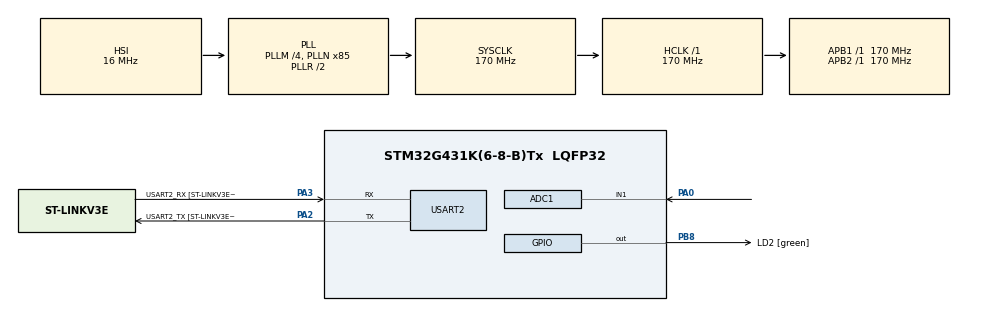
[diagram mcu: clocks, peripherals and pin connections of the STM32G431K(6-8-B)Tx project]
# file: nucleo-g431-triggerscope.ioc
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ADC1.Channel-0\#ChannelRegularConversion=ADC_CHANNEL_1
ADC1.ContinuousConvMode=ENABLE
ADC1.DMAContinuousRequests=ENABLE
ADC1.GainCompensation=0
ADC1.NbrOfConversionFlag=1
ADC1.OffsetNumber-0\#ChannelRegularConversion=ADC_OFFSET_NONE
ADC1.Overrun=ADC_OVR_DATA_OVERWRITTEN
ADC1.Rank-0\#ChannelRegularConversion=1
ADC1.SamplingTime-0\#ChannelRegularConversion=ADC_SAMPLETIME_2CYCLES_5
ADC1.master=1
Dma.ADC1.0.Direction=DMA_PERIPH_TO_MEMORY
Dma.ADC1.0.EventEnable=DISABLE
Dma.ADC1.0.Instance=DMA1_Channel1
Dma.ADC1.0.MemDataAlignment=DMA_MDATAALIGN_HALFWORD
Dma.ADC1.0.MemInc=DMA_MINC_ENABLE
Dma.ADC1.0.Mode=DMA_CIRCULAR
Dma.ADC1.0.PeriphDataAlignment=DMA_PDATAALIGN_HALFWORD
Dma.ADC1.0.PeriphInc=DMA_PINC_DISABLE
Dma.ADC1.0.Polarity=HAL_DMAMUX_REQ_GEN_RISING
Dma.ADC1.0.Priority=DMA_PRIORITY_VERY_HIGH
Dma.ADC1.0.RequestNumber=1
Dma.ADC1.0.SignalID=NONE
Dma.ADC1.0.SyncEnable=DISABLE
Dma.ADC1.0.SyncPolarity=HAL_DMAMUX_SYNC_NO_EVENT
Dma.ADC1.0.SyncRequestNumber=1
Dma.ADC1.0.SyncSignalID=NONE
Dma.Request0=ADC1
Dma.Request1=USART2_TX
Dma.USART2_TX.1.Direction=DMA_MEMORY_TO_PERIPH
Dma.USART2_TX.1.EventEnable=DISABLE
Dma.USART2_TX.1.Instance=DMA2_Channel1
Dma.USART2_TX.1.MemDataAlignment=DMA_MDATAALIGN_BYTE
Dma.USART2_TX.1.MemInc=DMA_MINC_ENABLE
Dma.USART2_TX.1.Mode=DMA_NORMAL
Dma.USART2_TX.1.PeriphDataAlignment=DMA_PDATAALIGN_BYTE
Dma.USART2_TX.1.PeriphInc=DMA_PINC_DISABLE
Dma.USART2_TX.1.Polarity=HAL_DMAMUX_REQ_GEN_RISING
Dma.USART2_TX.1.Priority=DMA_PRIORITY_HIGH
Dma.USART2_TX.1.RequestNumber=1
Dma.USART2_TX.1.SignalID=NONE
Dma.USART2_TX.1.SyncEnable=DISABLE
Dma.USART2_TX.1.SyncPolarity=HAL_DMAMUX_SYNC_NO_EVENT
Dma.USART2_TX.1.SyncRequestNumber=1
Dma.USART2_TX.1.SyncSignalID=NONE
Mcu.Family=STM32G4
Mcu.Name=STM32G431K(6-8-B)Tx
Mcu.Package=LQFP32
NVIC.DMA1_Channel1_IRQn=true\:0\:0\:false\:false\:true\:false\:true
NVIC.DMA2_Channel1_IRQn=true\:0\:0\:false\:false\:true\:false\:true
NVIC.PriorityGroup=NVIC_PRIORITYGROUP_4
NVIC.USART2_IRQn=true\:0\:0\:false\:false\:true\:true\:true
PA0.Mode=IN1-Single-Ended
PA0.Signal=ADC1_IN1
PA13.GPIO_Label=T_SWDIO
PA13.Mode=Serial_Wire
PA13.Signal=SYS_JTMS-SWDIO
PA14.GPIO_Label=T_SWCLK
PA14.Mode=Serial_Wire
PA14.Signal=SYS_JTCK-SWCLK
PA2.GPIO_Label=USART2_TX [ST-LINKV3E_VCP_RX]
PA2.Mode=Asynchronous
PA2.Signal=USART2_TX
PA3.GPIO_Label=USART2_RX [ST-LINKV3E_VCP_TX]
PA3.Mode=Asynchronous
PA3.Signal=USART2_RX
PB3.GPIO_Label=T_SWO
PB3.Signal=SYS_JTDO-SWO
PB8-BOOT0.GPIO_Label=LD2 [green]
PB8-BOOT0.Signal=GPIO_Output
ProjectManager.HeapSize=0x200
ProjectManager.StackSize=0x400
ProjectManager.TargetToolchain=STM32CubeIDE
RCC.ADC12Freq_Value=170000000
RCC.AHBFreq_Value=170000000
RCC.APB1Freq_Value=170000000
RCC.APB1TimFreq_Value=170000000
RCC.APB2Freq_Value=170000000
RCC.APB2TimFreq_Value=170000000
RCC.CortexFreq_Value=170000000
RCC.EXTERNAL_CLOCK_VALUE=12288000
RCC.HCLKFreq_Value=170000000
RCC.HSE_VALUE=8000000
RCC.HSI48_VALUE=48000000
RCC.HSI_VALUE=16000000
RCC.LSE_VALUE=32768
RCC.PLLM=RCC_PLLM_DIV4
RCC.PLLN=85
RCC.SYSCLKFreq_VALUE=170000000
RCC.SYSCLKSource=RCC_SYSCLKSOURCE_PLLCLK
RCC.USBFreq_Value=170000000
RCC.VCOOutputFreq_Value=340000000
USART2.FIFOMode=FIFOMODE_ENABLE
USART2.VirtualMode-Asynchronous=VM_ASYNC
USART2.WordLength=WORDLENGTH_8B
VP_CRC_VS_CRC.Mode=CRC_Activate
VP_RTC_VS_RTC_Activate.Mode=RTC_Enabled
VP_RTC_VS_RTC_Calendar.Mode=RTC_Calendar
VP_SYS_VS_DBSignals.Mode=DisableDeadBatterySignals
board=NUCLEO-G431KB

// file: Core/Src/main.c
/* USER CODE BEGIN Header */
/**
 ******************************************************************************
 * @file           : main.c
 * @brief          : Main program body
 ******************************************************************************
 * @attention
 *
 * <h2><center>&copy; Copyright (c) 2020 STMicroelectronics.
 * All rights reserved.</center></h2>
 *
 * This software component is licensed by ST under BSD 3-Clause license,
 * the "License"; You may not use this file except in compliance with the
 * License. You may obtain a copy of the License at:
 *                        opensource.org/licenses/BSD-3-Clause
 *
 ******************************************************************************
 */
/* USER CODE END Header */
#include "main.h"

/* USER CODE BEGIN Includes */
#include <stdio.h>
#include <string.h>
#include "base64.h"
/* USER CODE END Includes */

/* USER CODE BEGIN PD */
#define ADC_BUF_LEN 2000 // used to be 2064, no obvious difference w/ 5000... Needs to be even for below variable,
#define ADC_BUF_HLEN 100 // ADC_BUF_LEN/2
#define FIFO_WFLEN 750 //For some reason this stops working between 700 and 800 with python readout, no compile errors at any value <=1000
#define FIFO_NUMWF 2 // used to be 8...
#define WF_PRE_SAMPLES 50
/* USER CODE END PD */

ADC_HandleTypeDef hadc1;
DMA_HandleTypeDef hdma_adc1;

CRC_HandleTypeDef hcrc;

RTC_HandleTypeDef hrtc;

UART_HandleTypeDef huart2;
DMA_HandleTypeDef hdma_usart2_tx;

/* USER CODE BEGIN PV */
RTC_TimeTypeDef sTime;
RTC_DateTypeDef sDate;

uint16_t adc_buf[ADC_BUF_LEN];
uint16_t fifo[FIFO_NUMWF][FIFO_WFLEN];
uint16_t trig_threshold = 100;
/* Holds 1 if FIFO holds data */
uint8_t fifo_status;
/* the register where the threshold was meet, so need to be able to hold a value
 * up to ADC_BUF_LEN it is -1 if there is no active trigger*/
int16_t active_trigger = -1;
char tx_dma_buffer[4000]; // for the UART2 TX buffer

char datetime_str[25];
// DEBUG CRAP
uint16_t tmp_a, tmp_b, tmp_c, tmp_d;
uint16_t wf_type;
/* USER CODE END PV */

void SystemClock_Config(void);
static void MX_GPIO_Init(void);
static void MX_DMA_Init(void);
static void MX_USART2_UART_Init(void);
static void MX_ADC1_Init(void);
static void MX_CRC_Init(void);
static void MX_RTC_Init(void);

int main(void)
{

  /* MCU Configuration--------------------------------------------------------*/

  /* Reset of all peripherals, Initializes the Flash interface and the Systick. */
  HAL_Init();

  /* Configure the system clock */
  SystemClock_Config();

  /* Initialize all configured peripherals */
  MX_GPIO_Init();
  MX_DMA_Init();
  MX_USART2_UART_Init();
  MX_ADC1_Init();
  MX_CRC_Init();
  MX_RTC_Init();
  /* USER CODE BEGIN 2 */
	HAL_ADC_Start_DMA(&hadc1, (uint32_t*)adc_buf, ADC_BUF_LEN);
  /* USER CODE END 2 */

  /* Infinite loop */
  /* USER CODE BEGIN WHILE */
	while (1)
	{
		if (fifo_status != 0x00){
			/* IF there is a waveform in the FIFO, then get the time from the RTC and then transmit the TX buffer */
			HAL_RTC_GetTime(&hrtc, &sTime, RTC_FORMAT_BIN);
			HAL_RTC_GetDate(&hrtc, &sDate, RTC_FORMAT_BIN);
			int fsec = (999 - sTime.SubSeconds*1000 / sTime.SecondFraction);
			if (fsec < 0){ fsec=0;}
			else if (fsec > 999){fsec=0;}
			sprintf(datetime_str, "%02d%02d%02d_%02d:%02d:%02d.%03d\r\n", sDate.Year, sDate.Month, sDate.Date, sTime.Hours, sTime.Minutes, sTime.Seconds, fsec);
			//HAL_UART_Transmit(&huart2, datetime_str, strlen((char*)datetime_str), 100);
			fill_tx_buffer();
			int txret = transmit_buffer_DMA();
			fifo_status=0;
		}
		/*
		strcpy((char*)datetime_str, "Hello\r\n");
		HAL_UART_Transmit(&huart2, datetime_str, strlen((char*)datetime_str), 100);
		HAL_Delay(1000);
		 */
    /* USER CODE END WHILE */

	}
}

void SystemClock_Config(void)
{
  RCC_OscInitTypeDef RCC_OscInitStruct = {0};
  RCC_ClkInitTypeDef RCC_ClkInitStruct = {0};
  RCC_PeriphCLKInitTypeDef PeriphClkInit = {0};

  /** Configure the main internal regulator output voltage
  */
  HAL_PWREx_ControlVoltageScaling(PWR_REGULATOR_VOLTAGE_SCALE1_BOOST);
  /** Initializes the RCC Oscillators according to the specified parameters
  * in the RCC_OscInitTypeDef structure.
  */
  RCC_OscInitStruct.OscillatorType = RCC_OSCILLATORTYPE_HSI|RCC_OSCILLATORTYPE_LSI;
  RCC_OscInitStruct.HSIState = RCC_HSI_ON;
  RCC_OscInitStruct.HSICalibrationValue = RCC_HSICALIBRATION_DEFAULT;
  RCC_OscInitStruct.LSIState = RCC_LSI_ON;
  RCC_OscInitStruct.PLL.PLLState = RCC_PLL_ON;
  RCC_OscInitStruct.PLL.PLLSource = RCC_PLLSOURCE_HSI;
  RCC_OscInitStruct.PLL.PLLM = RCC_PLLM_DIV4;
  RCC_OscInitStruct.PLL.PLLN = 85;
  RCC_OscInitStruct.PLL.PLLP = RCC_PLLP_DIV2;
  RCC_OscInitStruct.PLL.PLLQ = RCC_PLLQ_DIV2;
  RCC_OscInitStruct.PLL.PLLR = RCC_PLLR_DIV2;
  if (HAL_RCC_OscConfig(&RCC_OscInitStruct) != HAL_OK)
  {
    Error_Handler();
  }
  /** Initializes the CPU, AHB and APB buses clocks
  */
  RCC_ClkInitStruct.ClockType = RCC_CLOCKTYPE_HCLK|RCC_CLOCKTYPE_SYSCLK
                              |RCC_CLOCKTYPE_PCLK1|RCC_CLOCKTYPE_PCLK2;
  RCC_ClkInitStruct.SYSCLKSource = RCC_SYSCLKSOURCE_PLLCLK;
  RCC_ClkInitStruct.AHBCLKDivider = RCC_SYSCLK_DIV1;
  RCC_ClkInitStruct.APB1CLKDivider = RCC_HCLK_DIV1;
  RCC_ClkInitStruct.APB2CLKDivider = RCC_HCLK_DIV1;

  if (HAL_RCC_ClockConfig(&RCC_ClkInitStruct, FLASH_LATENCY_4) != HAL_OK)
  {
    Error_Handler();
  }
  /** Initializes the peripherals clocks
  */
  PeriphClkInit.PeriphClockSelection = RCC_PERIPHCLK_RTC|RCC_PERIPHCLK_USART2
                              |RCC_PERIPHCLK_ADC12;
  PeriphClkInit.Usart2ClockSelection = RCC_USART2CLKSOURCE_PCLK1;
  PeriphClkInit.Adc12ClockSelection = RCC_ADC12CLKSOURCE_SYSCLK;
  PeriphClkInit.RTCClockSelection = RCC_RTCCLKSOURCE_LSI;

  if (HAL_RCCEx_PeriphCLKConfig(&PeriphClkInit) != HAL_OK)
  {
    Error_Handler();
  }
}

static void MX_ADC1_Init(void)
{

  ADC_MultiModeTypeDef multimode = {0};
  ADC_ChannelConfTypeDef sConfig = {0};

  /** Common config
  */
  hadc1.Instance = ADC1;
  hadc1.Init.ClockPrescaler = ADC_CLOCK_SYNC_PCLK_DIV4;
  hadc1.Init.Resolution = ADC_RESOLUTION_12B;
  hadc1.Init.DataAlign = ADC_DATAALIGN_RIGHT;
  hadc1.Init.GainCompensation = 0;
  hadc1.Init.ScanConvMode = ADC_SCAN_DISABLE;
  hadc1.Init.EOCSelection = ADC_EOC_SINGLE_CONV;
  hadc1.Init.LowPowerAutoWait = DISABLE;
  hadc1.Init.ContinuousConvMode = ENABLE;
  hadc1.Init.NbrOfConversion = 1;
  hadc1.Init.DiscontinuousConvMode = DISABLE;
  hadc1.Init.ExternalTrigConv = ADC_SOFTWARE_START;
  hadc1.Init.ExternalTrigConvEdge = ADC_EXTERNALTRIGCONVEDGE_NONE;
  hadc1.Init.DMAContinuousRequests = ENABLE;
  hadc1.Init.Overrun = ADC_OVR_DATA_OVERWRITTEN;
  hadc1.Init.OversamplingMode = DISABLE;
  if (HAL_ADC_Init(&hadc1) != HAL_OK)
  {
    Error_Handler();
  }
  /** Configure the ADC multi-mode
  */
  multimode.Mode = ADC_MODE_INDEPENDENT;
  if (HAL_ADCEx_MultiModeConfigChannel(&hadc1, &multimode) != HAL_OK)
  {
    Error_Handler();
  }
  /** Configure Regular Channel
  */
  sConfig.Channel = ADC_CHANNEL_1;
  sConfig.Rank = ADC_REGULAR_RANK_1;
  sConfig.SamplingTime = ADC_SAMPLETIME_2CYCLES_5;
  sConfig.SingleDiff = ADC_SINGLE_ENDED;
  sConfig.OffsetNumber = ADC_OFFSET_NONE;
  sConfig.Offset = 0;
  if (HAL_ADC_ConfigChannel(&hadc1, &sConfig) != HAL_OK)
  {
    Error_Handler();
  }

}

static void MX_CRC_Init(void)
{

  hcrc.Instance = CRC;
  hcrc.Init.DefaultPolynomialUse = DEFAULT_POLYNOMIAL_ENABLE;
  hcrc.Init.DefaultInitValueUse = DEFAULT_INIT_VALUE_ENABLE;
  hcrc.Init.InputDataInversionMode = CRC_INPUTDATA_INVERSION_NONE;
  hcrc.Init.OutputDataInversionMode = CRC_OUTPUTDATA_INVERSION_DISABLE;
  hcrc.InputDataFormat = CRC_INPUTDATA_FORMAT_BYTES;
  if (HAL_CRC_Init(&hcrc) != HAL_OK)
  {
    Error_Handler();
  }

}

static void MX_RTC_Init(void)
{

  RTC_TimeTypeDef sTime = {0};
  RTC_DateTypeDef sDate = {0};

  /** Initialize RTC Only
  */
  hrtc.Instance = RTC;
  hrtc.Init.HourFormat = RTC_HOURFORMAT_24;
  hrtc.Init.AsynchPrediv = 127;
  hrtc.Init.SynchPrediv = 255;
  hrtc.Init.OutPut = RTC_OUTPUT_DISABLE;
  hrtc.Init.OutPutRemap = RTC_OUTPUT_REMAP_NONE;
  hrtc.Init.OutPutPolarity = RTC_OUTPUT_POLARITY_HIGH;
  hrtc.Init.OutPutType = RTC_OUTPUT_TYPE_OPENDRAIN;
  hrtc.Init.OutPutPullUp = RTC_OUTPUT_PULLUP_NONE;
  if (HAL_RTC_Init(&hrtc) != HAL_OK)
  {
    Error_Handler();
  }

  /** Initialize RTC and set the Time and Date
  */
  sTime.Hours = 0x0;
  sTime.Minutes = 0x0;
  sTime.Seconds = 0x0;
  sTime.SubSeconds = 0x0;
  sTime.DayLightSaving = RTC_DAYLIGHTSAVING_NONE;
  sTime.StoreOperation = RTC_STOREOPERATION_RESET;
  if (HAL_RTC_SetTime(&hrtc, &sTime, RTC_FORMAT_BCD) != HAL_OK)
  {
    Error_Handler();
  }
  sDate.WeekDay = RTC_WEEKDAY_MONDAY;
  sDate.Month = RTC_MONTH_JANUARY;
  sDate.Date = 0x1;
  sDate.Year = 0x0;

  if (HAL_RTC_SetDate(&hrtc, &sDate, RTC_FORMAT_BCD) != HAL_OK)
  {
    Error_Handler();
  }

}

static void MX_USART2_UART_Init(void)
{

  huart2.Instance = USART2;
  huart2.Init.BaudRate = 115200;
  huart2.Init.WordLength = UART_WORDLENGTH_8B;
  huart2.Init.StopBits = UART_STOPBITS_1;
  huart2.Init.Parity = UART_PARITY_NONE;
  huart2.Init.Mode = UART_MODE_TX_RX;
  huart2.Init.HwFlowCtl = UART_HWCONTROL_NONE;
  huart2.Init.OverSampling = UART_OVERSAMPLING_16;
  huart2.Init.OneBitSampling = UART_ONE_BIT_SAMPLE_DISABLE;
  huart2.Init.ClockPrescaler = UART_PRESCALER_DIV1;
  huart2.AdvancedInit.AdvFeatureInit = UART_ADVFEATURE_NO_INIT;
  if (HAL_UART_Init(&huart2) != HAL_OK)
  {
    Error_Handler();
  }
  if (HAL_UARTEx_SetTxFifoThreshold(&huart2, UART_TXFIFO_THRESHOLD_1_8) != HAL_OK)
  {
    Error_Handler();
  }
  if (HAL_UARTEx_SetRxFifoThreshold(&huart2, UART_RXFIFO_THRESHOLD_1_8) != HAL_OK)
  {
    Error_Handler();
  }
  if (HAL_UARTEx_EnableFifoMode(&huart2) != HAL_OK)
  {
    Error_Handler();
  }

}

static void MX_DMA_Init(void)
{

  /* DMA controller clock enable */
  __HAL_RCC_DMAMUX1_CLK_ENABLE();
  __HAL_RCC_DMA1_CLK_ENABLE();
  __HAL_RCC_DMA2_CLK_ENABLE();

  /* DMA interrupt init */
  /* DMA1_Channel1_IRQn interrupt configuration */
  HAL_NVIC_SetPriority(DMA1_Channel1_IRQn, 0, 0);
  HAL_NVIC_EnableIRQ(DMA1_Channel1_IRQn);
  /* DMA2_Channel1_IRQn interrupt configuration */
  HAL_NVIC_SetPriority(DMA2_Channel1_IRQn, 0, 0);
  HAL_NVIC_EnableIRQ(DMA2_Channel1_IRQn);

}

static void MX_GPIO_Init(void)
{
  GPIO_InitTypeDef GPIO_InitStruct = {0};

  /* GPIO Ports Clock Enable */
  __HAL_RCC_GPIOA_CLK_ENABLE();
  __HAL_RCC_GPIOB_CLK_ENABLE();

  /*Configure GPIO pin Output Level */
  HAL_GPIO_WritePin(LD2_GPIO_Port, LD2_Pin, GPIO_PIN_RESET);

  /*Configure GPIO pin : LD2_Pin */
  GPIO_InitStruct.Pin = LD2_Pin;
  GPIO_InitStruct.Mode = GPIO_MODE_OUTPUT_PP;
  GPIO_InitStruct.Pull = GPIO_NOPULL;
  GPIO_InitStruct.Speed = GPIO_SPEED_FREQ_LOW;
  HAL_GPIO_Init(LD2_GPIO_Port, &GPIO_InitStruct);

}

/* USER CODE BEGIN 4 */
void fill_tx_buffer(void){
	// TODO: Compute CRC?
	b64_encode(&fifo[0], FIFO_WFLEN*2, &tx_dma_buffer);
	int i = strlen((char*)tx_dma_buffer);
	int j;
	for (j=0; j < strlen((char*)datetime_str); j++){
		tx_dma_buffer[i+j] = datetime_str[j];
	}
	tx_dma_buffer[i+j] = (char)wf_type;
	tx_dma_buffer[i+j+1] = '-';
	/* To Decode in python3:
	 *  b = base64.b64decode(a[:-21])
	 *  c = numpy.frombuffer(b,dtype=numpy.int16)
	 * */
}

int transmit_buffer_DMA(){
	HAL_UART_Transmit_DMA(&huart2, tx_dma_buffer, strlen((char*)tx_dma_buffer));
	return 1;
}

char* get_RTC_datetime(){
	char *datetime_str = malloc(20);
	HAL_RTC_GetTime(&hrtc, &sTime, RTC_FORMAT_BIN);
	HAL_RTC_GetDate(&hrtc, &sDate, RTC_FORMAT_BIN);
	sprintf(datetime_str, "%02d%02d%02d_%02d:%02d:%02d.%04d\n\r", sDate.Year, sDate.Month, sDate.Date, sTime.Hours, sTime.Minutes, sTime.Seconds, (sTime.SubSeconds/sTime.SecondFraction) );
	return datetime_str;
}

void copy_wf_to_fifo (){
	uint16_t i;
	if ( (active_trigger < ADC_BUF_LEN - FIFO_WFLEN - WF_PRE_SAMPLES) && (active_trigger > WF_PRE_SAMPLES) ){
		/* The WF capture is in a sequential portion of memory */
		wf_type = 0;
		for (i=0; i<FIFO_WFLEN; i++){
			fifo[0][i] = adc_buf[i + active_trigger - WF_PRE_SAMPLES];
		}
	}
	else if (active_trigger > ADC_BUF_LEN - FIFO_WFLEN - WF_PRE_SAMPLES){
		/* The WF starts near the end of ADC_BUF and some of the data
		 * will be at the beginning of the buffer  */
		wf_type = 1;
		uint16_t overlap = FIFO_WFLEN - (ADC_BUF_LEN - active_trigger) - WF_PRE_SAMPLES;
		for ( i = active_trigger - WF_PRE_SAMPLES; i < ADC_BUF_LEN; i++ ){
			fifo[0][i-active_trigger-WF_PRE_SAMPLES] = adc_buf[i];
		}
		tmp_a = i;
		for ( i = 0; i < FIFO_WFLEN - overlap; i++ ){
			fifo[0][FIFO_WFLEN - overlap + i] = adc_buf[i];
		}
		tmp_b = i;
	}
	else if (active_trigger < WF_PRE_SAMPLES){
		/* The WF capture is close enough to the start of the ADC_BUF
		 * that we need to start on the end of the circular buffer */
		wf_type = 2;
		uint16_t overlap = WF_PRE_SAMPLES - active_trigger;
		for ( i=0; i < overlap; i++ ){
			fifo[0][i] = adc_buf[ADC_BUF_LEN - overlap + i];
		}
		tmp_c = i;
		for ( i=0; i < FIFO_WFLEN - overlap; i++ ){
			fifo[0][overlap + i] = adc_buf[i];
		}
		tmp_d = i;
	}
	// Useful for debugging only:

	uint32_t sum_fifo = 0;
	for (i=0; i<FIFO_WFLEN; i++){
		sum_fifo += fifo[0][i];
	}
	active_trigger = -1;
	fifo_status = 1;
}

void HAL_ADC_ConvHalfCpltCallback (ADC_HandleTypeDef * hadc){
	if (active_trigger >= 0){
		/* There is an active trigger in the previous half but
		 * it needed data from this half to complete the WF*/
		copy_wf_to_fifo();
	}
	else {
		/* look for a trigger in the half full buffer of new data */
		for (int i=1; i < ADC_BUF_HLEN; i=i+1){
			if (adc_buf[i] > trig_threshold) {
				active_trigger = i;
				break;
			}
		}
	}
	if (active_trigger >= 0 && active_trigger < (ADC_BUF_HLEN - FIFO_WFLEN - WF_PRE_SAMPLES)) {
		/* there is an active trigger
		 * AND the final waveform is entirally inside this half-buffer
		 * THEN we only need to return the final waveform,
		 * OTHERWISE the copy will happen next half-buffer fill */
		copy_wf_to_fifo();
	}
}

void HAL_ADC_ConvCpltCallback (ADC_HandleTypeDef * hadc){
	if (active_trigger >= 0){
		/* There is an active trigger in the previous half but
		 * it needed data from this half to complete the WF*/
		copy_wf_to_fifo();
	}
	else {
		/* look for a trigger in the half full buffer of new data */
		for (int i=ADC_BUF_HLEN; i < ADC_BUF_LEN; i++){
			if (adc_buf[i] > trig_threshold) {
				active_trigger = i;
				break;
			}
		}
	}
	if (active_trigger >= ADC_BUF_HLEN && active_trigger < (ADC_BUF_LEN - FIFO_WFLEN - WF_PRE_SAMPLES)) {
		/* there is an active trigger
		 * AND the final waveform is entirally inside this half-buffer
		 * THEN we only need to return the final waveform,
		 * OTHERWISE the copy will happen next half-buffer fill */
		copy_wf_to_fifo();
	}
}

/* USER CODE END 4 */

void Error_Handler(void)
{
}

/************************ (C) COPYRIGHT STMicroelectronics *****END OF FILE****/
